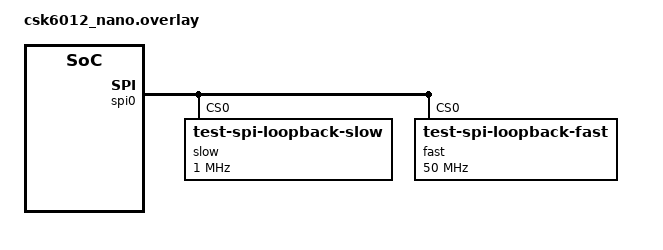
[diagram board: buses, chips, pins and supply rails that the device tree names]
&pinctrl{
    /* SPIC alternate function */
    pinctrl_spi0_cs_default: spi0_cs_default{
            pinctrls = <&pinmuxa 20 6>;
    };

    pinctrl_spi0_miso_default: spi0_miso_default{
            pinctrls = <&pinmuxa 17 6>;
    };

    pinctrl_spi0_mosi_default: spi0_mosi_default{
            pinctrls = <&pinmuxa 18 6>;
    };

    pinctrl_spi0_sclk_default: spi0_sclk_default{
            pinctrls = <&pinmuxa 19 6>;
    };
    
};


&spi0 {
	slow@0 {
		compatible = "test-spi-loopback-slow";
		reg = <0>;
		spi-max-frequency = <1000000>;
	};
	fast@0 {
		compatible = "test-spi-loopback-fast";
		reg = <0>;
		spi-max-frequency = <50000000>;
	};
};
